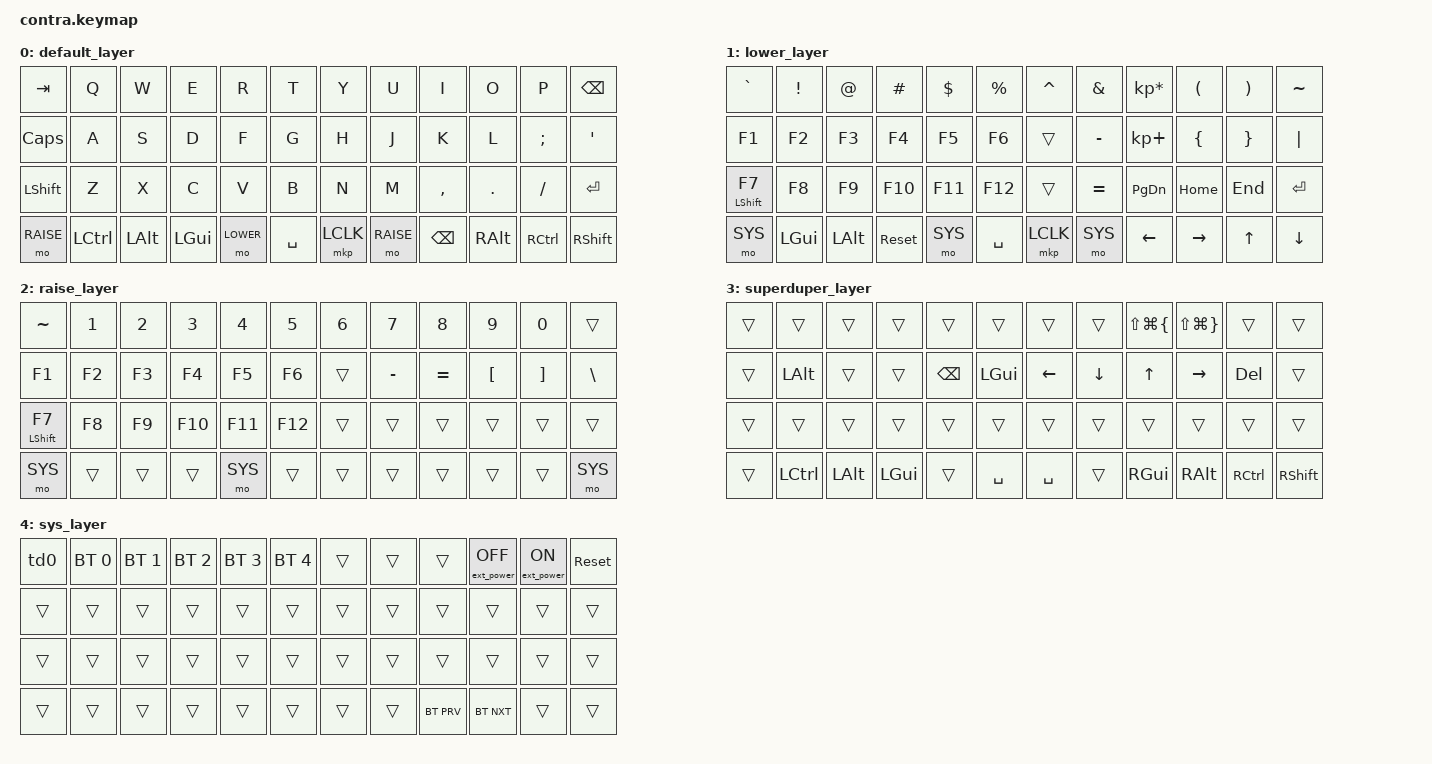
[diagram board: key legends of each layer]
/*
 * Copyright (c) 2021 The ZMK Contributors
 *
 * SPDX-License-Identifier: MIT
 */

#include <behaviors.dtsi>
#include <dt-bindings/zmk/keys.h>
#include <dt-bindings/zmk/bt.h>
#include <dt-bindings/zmk/mouse.h>
#include <dt-bindings/zmk/ext_power.h>

#define DEFAULT 0
#define LOWER 1
#define RAISE 2
#define SD 3
#define SYS 4

/ {
    behaviors {
        td0: tap_dance_0 {
            compatible = "zmk,behavior-tap-dance";
            label = "TAP_DANCE_0";
            #binding-cells = <0>;
            tapping-term-ms = <200>;
            bindings = <&none>, <&none>, <&bt BT_CLR>;
        };
    };

    combos {
        compatible = "zmk,combos";
        combo_esc {
            timeout-ms = <50>;
            key-positions = <14 15>;
            bindings = <&mo SD>;
            layers = <DEFAULT>;
        };
    };

    keymap {
        compatible = "zmk,keymap";

        default_layer {
    // ------------------------------------------------------------------------------------------------------------
    // |  TAB  |  Q  |  W  |  E   |  R   |  T   |  Y   |  U    |  I    |  O   |   P   | BSPC  |
    // |  CTRL |  A  |  S  |  D   |  F   |  G   |  H   |  J    |  K    |  L   |   ;   |   '   |
    // | SHIFT |  Z  |  X  |  C   |  V   |  B   |  N   |  M    |  ,    |  .   |   /   | ENTER |
    // | RAISE | CTRL| ALT | GUI  | LOWER| SPACE|SPACE | UPPER | BKSP  | ALT  | CTRL  | SHIFT |
          bindings = <
    &kp TAB   &kp Q     &kp W  &kp E    &kp R    &kp T              &kp Y      &kp U       &kp I     &kp O   &kp P    &kp BSPC
    &kp CAPS  &kp A     &kp S  &kp D    &kp F    &kp G              &kp H      &kp J       &kp K     &kp L   &kp SEMI &kp SQT
    &kp LSHFT &kp Z     &kp X  &kp C    &kp V    &kp B              &kp N      &kp M       &kp COMMA &kp DOT &kp FSLH &kp RET
    &mo RAISE &kp LCTRL &kp LALT  &kp LGUI  &mo LOWER  &kp SPACE  &mkp LCLK  &mo RAISE     &kp BKSP &kp RALT &kp RCTRL &kp RSHFT
          >;
        };

        lower_layer {
            bindings = <
    &kp GRAVE &kp EXCL  &kp AT   &kp HASH &kp DOLLAR  &kp PRCNT  &kp CARET &kp AMPS    &kp KP_MULTIPLY &kp LPAR  &kp RPAR  &kp TILDE
    &kp F1    &kp F2    &kp F3   &kp F4   &kp F5      &kp F6    &trans    &kp MINUS   &kp KP_PLUS     &kp LBRC  &kp RBRC  &kp PIPE
    &mt LSHFT F7 &kp F8 &kp F9   &kp F10  &kp F11     &kp F12   &trans    &kp EQUAL   &kp PG_DN       &kp HOME  &kp END   &kp ENTER
    &mo SYS &kp LGUI  &kp LALT &sys_reset &mo SYS     &kp SPACE  &mkp LCLK &mo SYS     &kp LEFT        &kp RIGHT &kp UP    &kp DOWN
            >;
        };

        raise_layer {
            bindings = <
    &kp TILDE    &kp N1 &kp N2 &kp N3  &kp N4  &kp N5    &kp N6      &kp N7    &kp N8    &kp N9   &kp N0   &trans
    &kp F1       &kp F2 &kp F3 &kp F4  &kp F5  &kp F6    &trans      &kp MINUS &kp EQUAL &kp LBKT &kp RBKT &kp BSLH
    &mt LSHFT F7 &kp F8 &kp F9 &kp F10 &kp F11 &kp F12   &trans      &trans    &trans    &trans   &trans   &trans
    &mo SYS     &trans &trans &trans  &mo SYS   &trans   &trans      &trans    &trans    &trans   &trans   &mo SYS
            >;
        };

        superduper_layer {
          	bindings = <
    &trans &trans    &trans    &trans   &trans   &trans     &trans    &trans   &kp LS(LG(LBRC)) &kp LS(LG(RBRC)) &trans  &trans
    &trans &kp LALT  &trans    &trans   &kp BSPC &kp LGUI   &kp LEFT  &kp DOWN &kp UP &kp RIGHT &kp DEL &trans
    &trans &trans    &trans    &trans   &trans   &trans     &trans    &trans   &trans &trans    &trans  &trans
    &trans &kp LCTRL &kp LALT  &kp LGUI &trans   &kp SPACE  &kp SPACE &trans   &kp RGUI  &kp RALT &kp RCTRL &kp RSHFT
            >;
        };

        sys_layer {
            bindings = <
    &td0       &bt BT_SEL 0 &bt BT_SEL 1 &bt BT_SEL 2 &bt BT_SEL 3 &bt BT_SEL 4 &trans    &trans    &trans     &ext_power EP_OFF   &ext_power EP_ON   &sys_reset
    &trans     &trans       &trans       &trans       &trans       &trans       &trans    &trans    &trans     &trans     &trans   &trans
    &trans     &trans       &trans       &trans       &trans       &trans       &trans    &trans    &trans     &trans     &trans   &trans
    &trans     &trans       &trans       &trans       &trans       &trans       &trans    &trans    &bt BT_PRV &bt BT_NXT &trans   &trans
            >;
        };
    };
};
